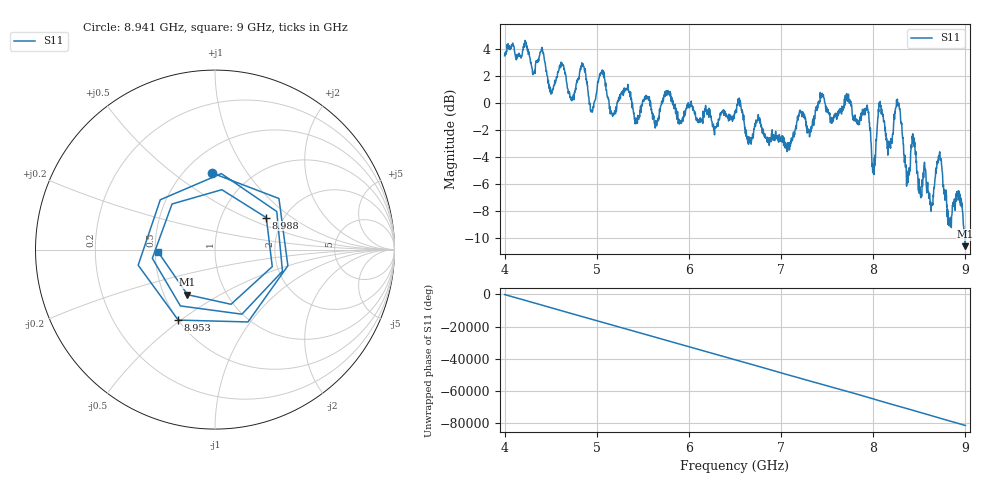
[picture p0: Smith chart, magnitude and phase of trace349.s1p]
! Created with skrf 1.8.0 (http://scikit-rf.org).
# Hz S RI R 50.0
!freq ReS11 ImS11
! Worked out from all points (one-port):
!   1601 points, 4 GHz to 9 GHz, reference 50 ohm
!   lowest |S11| = -10.6 dB at 8.997 GHz (marker M1), VSWR 1.83, Z = 32.8 - j18 ohm
!   |S11| at or under -10 dB: 8.994156 GHz to end of sweep
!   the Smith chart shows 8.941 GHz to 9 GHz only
!   S11 on the Smith chart (normalised r, x): 8.941 GHz: 0.67, +0.70; 8.953 GHz: 0.50, -0.49; 8.988 GHz: 1.64, +0.66; 9 GHz: 0.52, -0.02
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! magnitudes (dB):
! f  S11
! 4 GHz  3.5
! 4.403 GHz  4.0
! 4.509 GHz  0.8
! 4.625 GHz  3.0
! 4.728 GHz  0.2
! 4.841 GHz  2.7
! 4.944 GHz  -0.6
! 5.056 GHz  2.4
! 5.25 GHz  0.3
! 5.875 GHz  -0.6
! 6.5 GHz  -0.8
! 7.125 GHz  -2.8
! 7.75 GHz  0.2
! 7.928 GHz  -0.3
! 8.003 GHz  -5.3
! 8.072 GHz  -0.1
! 8.175 GHz  -2.9
! 8.269 GHz  0.0
! 8.375 GHz  -5.9
! 8.438 GHz  -2.9
! 8.622 GHz  -7.3
! 8.716 GHz  -4.0
! 8.828 GHz  -8.6
! 8.941 GHz  -7.4
! 8.953 GHz  -7.1
! 8.988 GHz  -9.5
! 8.997 GHz  -10.6
! 9 GHz  -10.0
